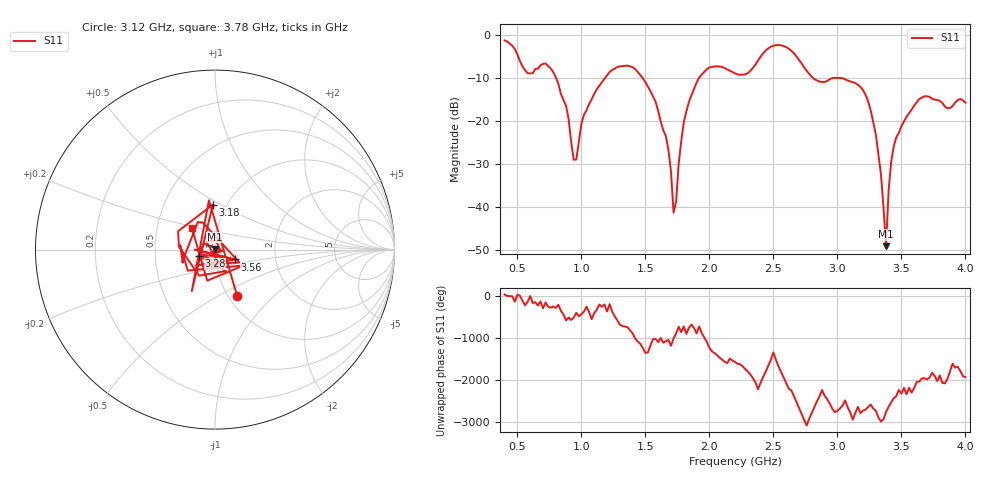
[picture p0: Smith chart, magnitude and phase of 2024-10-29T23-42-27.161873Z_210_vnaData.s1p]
!Created with skrf (http://scikit-rf.org).
# Hz S RI R 50.0
!freq ReS11 ImS11
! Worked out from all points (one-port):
!   181 points, 400 MHz to 4 GHz, reference 50 ohm
!   lowest |S11| = -49.0 dB at 3.38 GHz (marker M1), VSWR 1.01, Z = 49.8 + j0.31 ohm
!   |S11| at or under -10 dB: 802.6 MHz to 1.183 GHz (380.7 MHz wide, 38.3 % of centre); 1.48 GHz to 1.918 GHz (438.1 MHz wide, 25.8 % of centre); 3.035 GHz to end of sweep (the widest 3 of 4)
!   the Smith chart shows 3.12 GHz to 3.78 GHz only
!   S11 on the Smith chart (normalised r, x): 3.12 GHz: 1.10, -0.62; 3.18 GHz: 0.86, +0.46; 3.28 GHz: 0.83, -0.06; 3.56 GHz: 1.24, -0.14; 3.78 GHz: 0.75, +0.19
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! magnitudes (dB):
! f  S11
! 400 MHz  -1.2
! 580 MHz  -8.8
! 760 MHz  -7.7
! 860 MHz  -15.1
! 960 MHz  -28.9
! 1.02 GHz  -18.5
! 1.3 GHz  -7.3
! 1.58 GHz  -15.5
! 1.68 GHz  -26.7
! 1.72 GHz  -41.2
! 1.76 GHz  -29.9
! 1.82 GHz  -17.7
! 1.92 GHz  -9.9
! 2.2 GHz  -8.9
! 2.5 GHz  -2.5
! 2.66 GHz  -4.2
! 2.82 GHz  -10.2
! 3.1 GHz  -10.8
! 3.12 GHz  -10.9
! 3.18 GHz  -12.0
! 3.28 GHz  -20.2
! 3.34 GHz  -32.2
! 3.38 GHz  -49.0
! 3.4 GHz  -36.2
! 3.44 GHz  -25.9
! 3.56 GHz  -18.2
! 3.78 GHz  -15.1
! 4 GHz  -15.7
